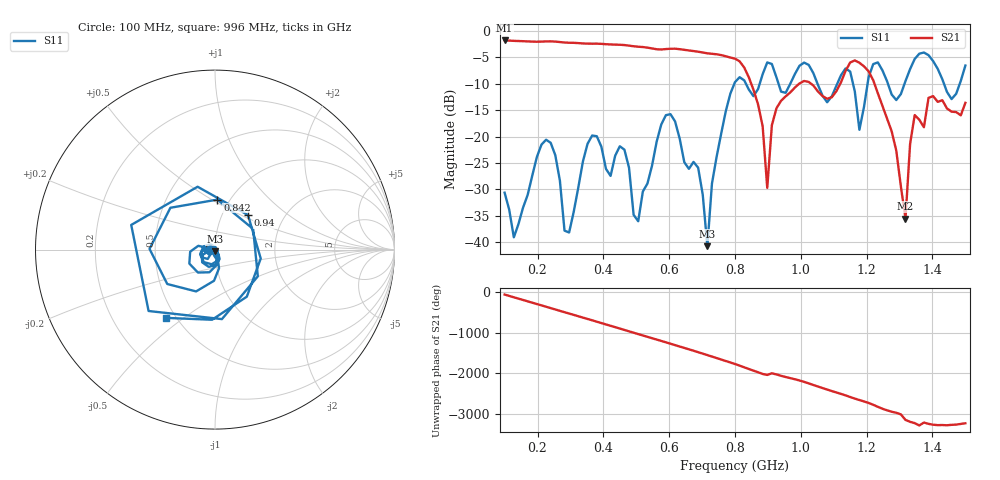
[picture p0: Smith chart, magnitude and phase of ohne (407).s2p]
! NanoVNA-App
! Date: 2025-09-25 14:23:58
! Start: 100MHz Stop: 1,5GHz Points: 101
! S-Parameter data: F S11 S21 S12 S22
# Hz S RI R 50
!  Frequency  S11_Real  S11_Imag  S21_Real  S21_Imag  S12_Real  S12_Imag  S22_Real  S22_Imag
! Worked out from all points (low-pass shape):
!   101 points, 100 MHz to 1.5 GHz, reference 50 ohm
!   highest |S21| = -1.79 dB at 100 MHz (marker M1); lowest = -35.5 dB at 1.318 GHz (marker M2)
!   |S21| within 3 dB of the highest: start of sweep to 772.2 MHz
!   lowest |S11| = -40.8 dB at 716 MHz (marker M3), VSWR 1.02, Z = 49.9 - j0.903 ohm
!   |S11| at or under -10 dB: start of sweep to 798 MHz; 833.2 MHz to 875 MHz (41.84 MHz wide, 4.9 % of centre); 1.051 GHz to 1.111 GHz (59.96 MHz wide, 5.55 % of centre)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
!   S12 and S22 are empty: the file has one direction only
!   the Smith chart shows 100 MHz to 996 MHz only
!   S11 on the Smith chart (normalised r, x): 100 MHz: 0.94, -0.01; 842 MHz: 0.88, +0.53; 940 MHz: 1.32, +0.55; 996 MHz: 0.44, -0.43
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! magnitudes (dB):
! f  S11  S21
! 100 MHz  -30.6  -1.8
! 128 MHz  -39.1  -1.9
! 226 MHz  -20.6  -2.0
! 296 MHz  -38.2  -2.2
! 338 MHz  -24.7  -2.4
! 464 MHz  -22.5  -2.7
! 506 MHz  -36.1  -3.0
! 576 MHz  -17.7  -3.5
! 688 MHz  -25.9  -3.9
! 716 MHz  -40.8  -4.2
! 800 MHz  -9.7  -5.2
! 842 MHz  -11.1  -8.8
! 898 MHz  -6.0  -29.7
! 940 MHz  -11.5  -13.2
! 996 MHz  -6.6  -9.9
! 1.038 GHz  -8.0  -10.3
! 1.178 GHz  -18.7  -6.0
! 1.22 GHz  -6.3  -9.3
! 1.276 GHz  -12.0  -19.0
! 1.318 GHz  -9.5  -35.5
! 1.346 GHz  -5.3  -15.9
! 1.5 GHz  -6.5  -13.6
